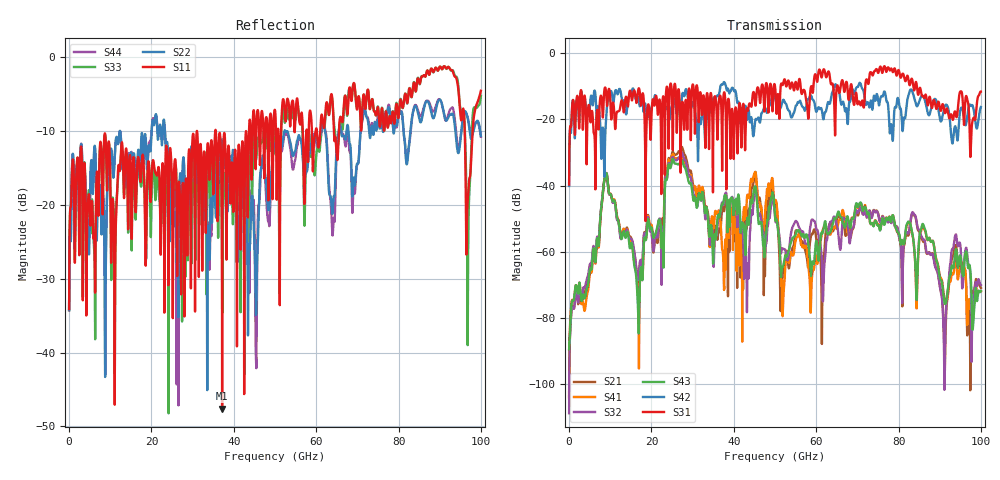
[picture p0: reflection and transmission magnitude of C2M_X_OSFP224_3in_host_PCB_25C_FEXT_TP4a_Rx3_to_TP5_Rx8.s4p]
# GHz S RI R 45
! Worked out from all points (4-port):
!   4000 points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, 25 MHz to 100 GHz, reference 45 ohm
!   strongest paths, dB at 25 MHz, 25.02 GHz, 50.02 GHz, 75.03 GHz, 100 GHz:
!     S31: -39.7, -14.6, -10.1, -5.9, -11.6
!     S42: -40.1, -16.1, -13.5, -14.0, -16.2
!     S43: -89.4, -32.4, -49.6, -52.0, -71.8
!     S32: -108.8, -31.7, -49.6, -48.5, -70.0
!     S41: -104.2, -30.9, -44.4, -51.9, -71.9
!     S21: -103.7, -30.2, -45.3, -48.3, -70.9
!   lowest |S11| = -47.6 dB at 37.17 GHz (marker M1), VSWR 1.01, Z = 45.4 - j0.133 ohm
!   |S11| at or under -10 dB: start of sweep to 31.03 GHz; 31.1 GHz to 35.5 GHz (4.396 GHz wide, 13.2 % of centre); 35.65 GHz to 42.96 GHz (7.31 GHz wide, 18.6 % of centre)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
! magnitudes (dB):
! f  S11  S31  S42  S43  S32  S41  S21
! 25 MHz  -34.1  -39.7  -40.1  -89.4  -108.8  -104.2  -103.7
! 8.9 GHz  -11.2  -10.8  -22.0  -36.5  -36.6  -36.5  -36.6
! 16.75 GHz  -13.5  -11.4  -13.2  -76.9  -68.5  -73.8  -69.2
! 25.3 GHz  -22.5  -17.8  -16.3  -32.1  -31.5  -30.6  -29.9
! 37.17 GHz  -47.6  -35.5  -9.4  -45.6  -45.1  -59.1  -46.8
! 44.98 GHz  -7.7  -12.3  -23.1  -41.0  -42.2  -36.5  -37.7
! 100 GHz  -4.5  -11.6  -16.2  -71.8  -70.0  -71.9  -70.9
